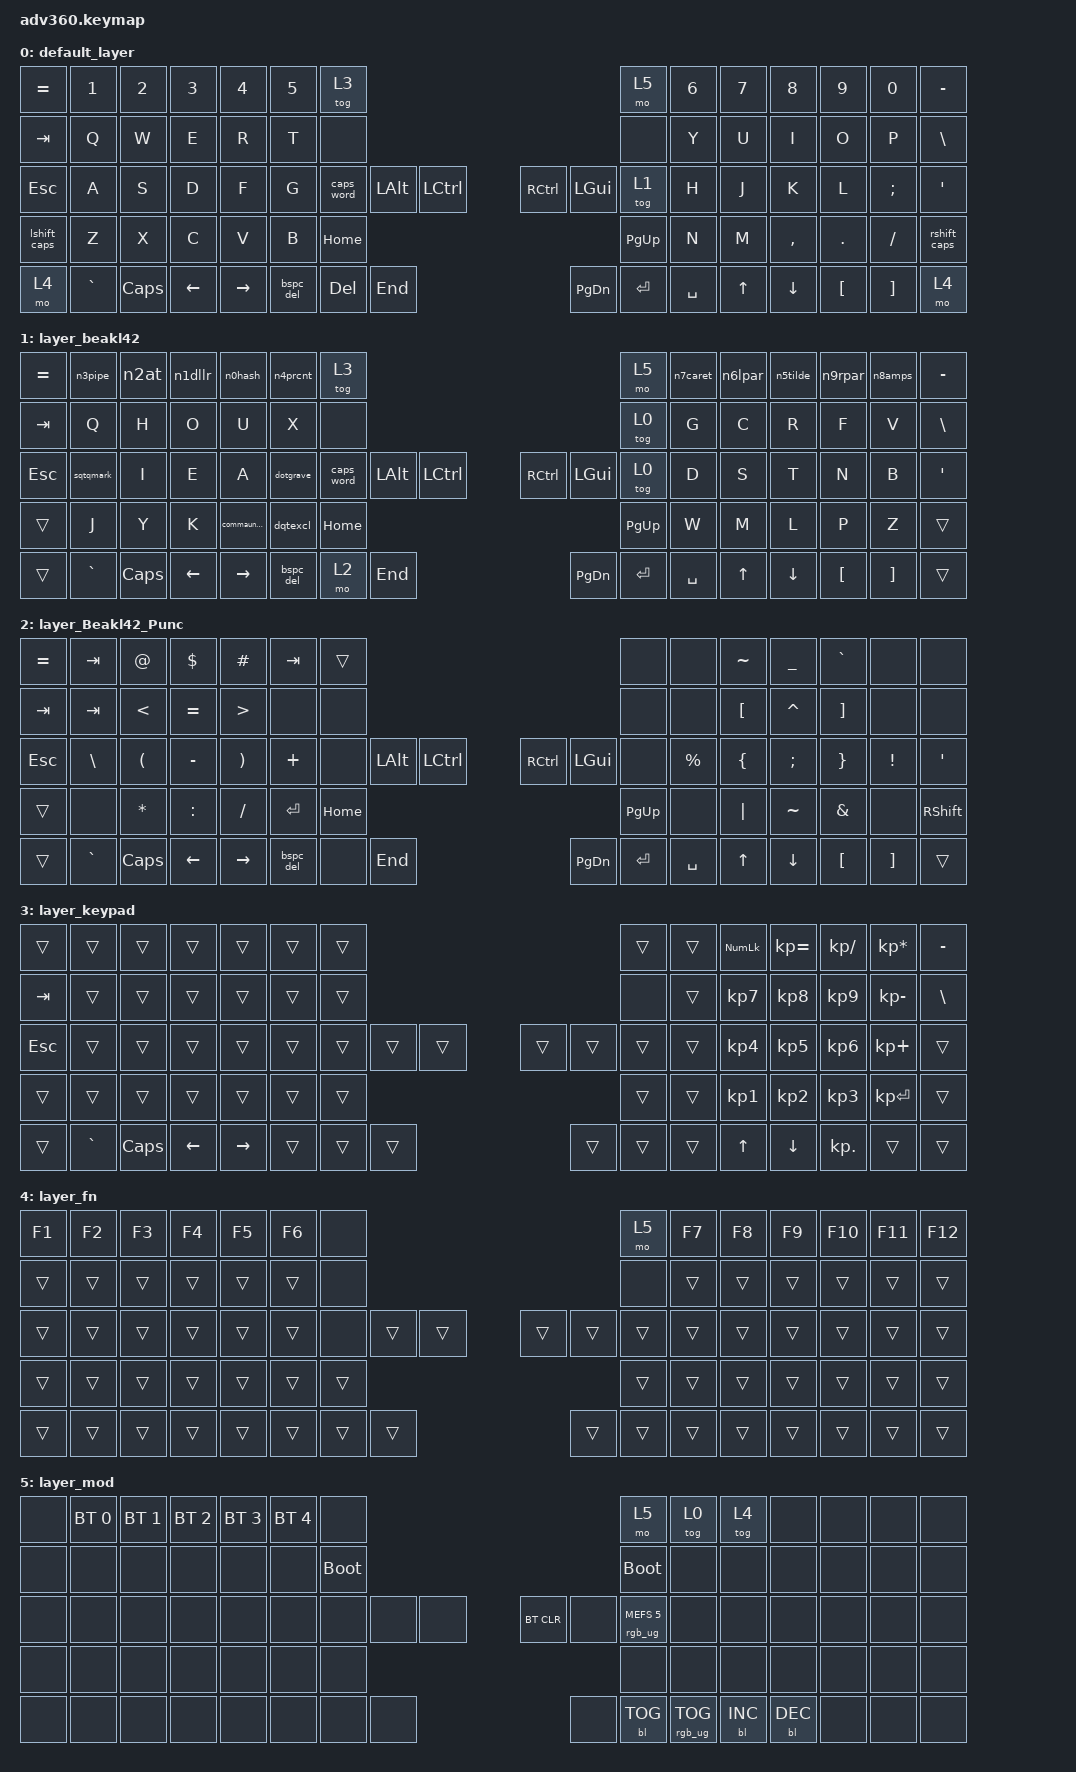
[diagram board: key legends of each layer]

/*
 * Copyright (c) 2020 The ZMK Contributors
 *
 * SPDX-License-Identifier: MIT
 */


/* THIS FILE WAS GENERATED!
 *
 * This file was generated automatically. You may or may not want to
 * edit it directly.
 */

#include <behaviors.dtsi>
#include <dt-bindings/zmk/keys.h>
#include <dt-bindings/zmk/bt.h>
#include <dt-bindings/zmk/rgb.h>
#include <dt-bindings/zmk/backlight.h>

&caps_word {
    continue-list = <UNDERSCORE MINUS BACKSPACE DELETE>;
};

/ {
    behaviors {
      #include "macros.dtsi"
      #include "version.dtsi"
      #include "beakl_shift_pairs.dtsi"
      #ifndef VERSION_MACRO
      macro_ver: macro_ver {
        compatible = "zmk,behavior-macro";
        label = "macro_version";
        #binding-cells = <0>;
        bindings = <&kp RET>;
      };
      #endif

      lshift_caps: lshift_caps {
        compatible = "zmk,behavior-tap-dance";
        label = "lshift_caps";
        #binding-cells = <0>;
        tapping-term-ms = <200>;
        bindings = <&kp LSHFT>, <&caps_word>;
      };

      rshift_caps: rshift_caps {
        compatible = "zmk,behavior-tap-dance";
        label = "rshift_caps";
        #binding-cells = <0>;
        tapping-term-ms = <200>;
        bindings = <&kp RSHFT>, <&caps_word>;
      };

      bspc_del: backspace_delete {
        compatible = "zmk,behavior-mod-morph";
        label = "BACKSPACE_DELETE";
        #binding-cells = <0>;
        bindings = <&kp BACKSPACE>, <&kp DELETE>;
        mods = <(MOD_LSFT|MOD_RSFT)>;
        keep-mods = <(MOD_RSFT)>;
      };
    };

    keymap {
        compatible = "zmk,keymap";

        default_layer {
            bindings = <
 &kp EQUAL    &kp N1    &kp N2    &kp N3     &kp N4  &kp N5                &tog 3                                                                 &mo 5  &kp N6  &kp N7     &kp N8    &kp N9    &kp N0  &kp MINUS
   &kp TAB     &kp Q     &kp W     &kp E      &kp R   &kp T                &none                                                                  &none   &kp Y   &kp U      &kp I     &kp O     &kp P   &kp BSLH
   &kp ESC     &kp A     &kp S     &kp D      &kp F   &kp G            &caps_word  &kp LALT  &kp LCTRL                  &kp RCTRL   &kp LGUI     &tog 1   &kp H   &kp J      &kp K     &kp L  &kp SEMI    &kp SQT
 &lshift_caps  &kp Z     &kp X     &kp C      &kp V   &kp B                                   &kp HOME                  &kp PG_UP                         &kp N   &kp M  &kp COMMA   &kp DOT  &kp FSLH  &rshift_caps
     &mo 4  &kp GRAVE  &kp CAPS  &kp LEFT  &kp RIGHT                      &bspc_del &kp DEL    &kp END                  &kp PG_DN  &kp ENTER  &kp SPACE          &kp UP   &kp DOWN  &kp LBKT  &kp RBKT      &mo 4
            >;
        };

        layer_beakl42 {
            bindings = <
 &kp EQUAL     &n3pipe    &n2at     &n1dllr    &n0hash  &n4prcnt            &tog 3                                                                &mo 5   &n7caret &n6lpar  &n5tilde  &n9rpar   &n8amps &kp MINUS
   &kp TAB      &kp Q     &kp H     &kp O      &kp U    &kp X               &none                                                                &tog 0   &kp G   &kp C     &kp R     &kp F     &kp V   &kp BSLH
   &kp ESC    &sqtqmark   &kp I     &kp E      &kp A  &dotgrave        &caps_word  &kp LALT  &kp LCTRL                  &kp RCTRL   &kp LGUI     &tog 0   &kp D   &kp S     &kp T     &kp N     &kp B    &kp SQT
    &trans      &kp J     &kp Y     &kp K  &commaunder &dqtexcl                               &kp HOME                  &kp PG_UP                         &kp W   &kp M     &kp L     &kp P     &kp Z      &trans
    &trans   &kp GRAVE  &kp CAPS  &kp LEFT  &kp RIGHT                     &bspc_del   &mo 2     &kp END                  &kp PG_DN  &kp ENTER  &kp SPACE          &kp UP  &kp DOWN  &kp LBKT  &kp RBKT     &trans
            >;
        };

        layer_Beakl42_Punc {
            bindings = <
 &kp EQUAL   &kp TAB      &kp AT   &kp DLLR     &kp HASH    &kp TAB          &trans                                                                 &none    &none    &kp TILDE  &kp UNDERSCORE   &kp GRAVE  &none      &none
 &kp TAB     &kp TAB      &kp LT  &kp EQUAL     &kp GT      &none            &none                                                                  &none    &none    &kp LEFT_BRACKET  &kp CARET  &kp RIGHT_BRACKET    &none   &none
 &kp ESC  &kp BACKSLASH  &kp LEFT_PARENTHESIS  &kp MINUS  &kp RIGHT_PARENTHESIS   &kp PLUS               &none  &kp LALT  &kp LCTRL                  &kp RCTRL   &kp LGUI      &none  &kp PERCENT    &kp LEFT_BRACE   &kp SEMICOLON    &kp RIGHT_BRACE  &kp EXCLAMATION          &kp SQT
 &trans      &none          &kp ASTERISK  &kp COLON              &kp SLASH  &kp ENTER                                 &kp HOME                  &kp PG_UP                              &none          &kp PIPE       &kp TILDE      &kp AMPERSAND            &none  &kp RIGHT_SHIFT
 &trans      &kp GRAVE              &kp CAPS   &kp LEFT              &kp RIGHT                       &bspc_del   &none    &kp END                  &kp PG_DN  &kp ENTER  &kp SPACE                         &kp UP        &kp DOWN           &kp LBKT         &kp RBKT           &trans
            >;
        };

        layer_keypad {
            bindings = <
    &trans     &trans    &trans    &trans     &trans  &trans            &trans                                                  &trans  &trans  &kp KP_NUM  &kp KP_EQUAL  &kp KP_DIVIDE  &kp KP_MULTIPLY  &kp MINUS
   &kp TAB     &trans    &trans    &trans     &trans  &trans            &trans                                                   &none  &trans   &kp KP_N7     &kp KP_N8      &kp KP_N9     &kp KP_MINUS   &kp BSLH
   &kp ESC     &trans    &trans    &trans     &trans  &trans            &trans  &trans  &trans                  &trans  &trans  &trans  &trans   &kp KP_N4     &kp KP_N5      &kp KP_N6      &kp KP_PLUS     &trans
    &trans     &trans    &trans    &trans     &trans  &trans                            &trans                  &trans                  &trans   &kp KP_N1     &kp KP_N2      &kp KP_N3     &kp KP_ENTER     &trans
    &trans  &kp GRAVE  &kp CAPS  &kp LEFT  &kp RIGHT                    &trans  &trans  &trans                  &trans  &trans  &trans              &kp UP      &kp DOWN     &kp KP_DOT           &trans     &trans
            >;
        };

        layer_fn {
            bindings = <
 &kp F1  &kp F2  &kp F3  &kp F4  &kp F5  &kp F6             &none                                                   &mo 5  &kp F7  &kp F8  &kp F9  &kp F10  &kp F11  &kp F12
 &trans  &trans  &trans  &trans  &trans  &trans             &none                                                   &none  &trans  &trans  &trans   &trans   &trans   &trans
 &trans  &trans  &trans  &trans  &trans  &trans             &none  &trans  &trans                  &trans  &trans  &trans  &trans  &trans  &trans   &trans   &trans   &trans
 &trans  &trans  &trans  &trans  &trans  &trans                            &trans                  &trans                  &trans  &trans  &trans   &trans   &trans   &trans
 &trans  &trans  &trans  &trans  &trans                    &trans  &trans  &trans                  &trans  &trans  &trans          &trans  &trans   &trans   &trans   &trans
            >;
        };

        layer_mod {
            bindings = <
  &none  &bt BT_SEL 0  &bt BT_SEL 1  &bt BT_SEL 2  &bt BT_SEL 3  &bt BT_SEL 4                  &none                                                                           &mo 5  &tog 0      &tog 4       &none   &none   &none   &none
  &none         &none         &none         &none         &none         &none            &bootloader                                                                     &bootloader   &none       &none       &none   &none   &none   &none
  &none         &none         &none         &none         &none         &none                  &none   &none   &none                  &bt BT_CLR       &none  &rgb_ug RGB_MEFS_CMD 5   &none       &none       &none   &none   &none   &none
  &none         &none         &none         &none         &none         &none                                  &none                       &none                                       &none       &none       &none   &none   &none   &none
  &none         &none         &none         &none         &none                                &none   &none   &none                       &none  &bl BL_TOG         &rgb_ug RGB_TOG          &bl BL_INC  &bl BL_DEC   &none   &none   &none
            >;
        };
    };
};
